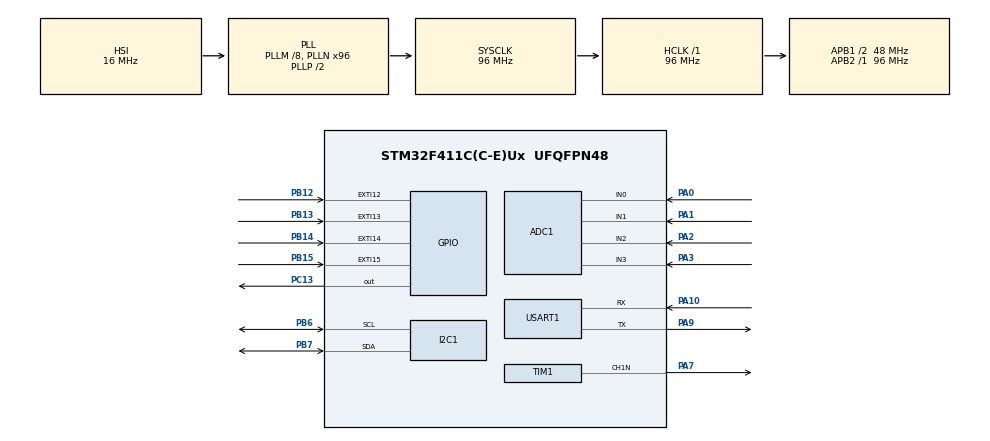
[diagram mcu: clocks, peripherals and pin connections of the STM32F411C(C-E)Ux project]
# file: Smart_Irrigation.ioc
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ADC1.Channel-3\#ChannelRegularConversion=ADC_CHANNEL_0
ADC1.Channel-4\#ChannelRegularConversion=ADC_CHANNEL_1
ADC1.Channel-5\#ChannelRegularConversion=ADC_CHANNEL_2
ADC1.Channel-6\#ChannelRegularConversion=ADC_CHANNEL_TEMPSENSOR
ADC1.Channel-7\#ChannelRegularConversion=ADC_CHANNEL_3
ADC1.ContinuousConvMode=ENABLE
ADC1.NbrOfConversion=5
ADC1.NbrOfConversionFlag=1
ADC1.Rank-3\#ChannelRegularConversion=1
ADC1.Rank-4\#ChannelRegularConversion=2
ADC1.Rank-5\#ChannelRegularConversion=3
ADC1.Rank-6\#ChannelRegularConversion=4
ADC1.Rank-7\#ChannelRegularConversion=5
ADC1.SamplingTime-3\#ChannelRegularConversion=ADC_SAMPLETIME_84CYCLES
ADC1.SamplingTime-4\#ChannelRegularConversion=ADC_SAMPLETIME_84CYCLES
ADC1.SamplingTime-5\#ChannelRegularConversion=ADC_SAMPLETIME_84CYCLES
ADC1.SamplingTime-6\#ChannelRegularConversion=ADC_SAMPLETIME_84CYCLES
ADC1.SamplingTime-7\#ChannelRegularConversion=ADC_SAMPLETIME_84CYCLES
ADC1.ScanConvMode=ENABLE
ADC1.master=1
I2C1.I2C_Mode=I2C_Fast
Mcu.Family=STM32F4
Mcu.Name=STM32F411C(C-E)Ux
Mcu.Package=UFQFPN48
NVIC.EXTI15_10_IRQn=true\:0\:0\:false\:false\:true\:true\:true\:true
NVIC.PriorityGroup=NVIC_PRIORITYGROUP_4
PA0-WKUP.Signal=ADCx_IN0
PA1.Signal=ADCx_IN1
PA10.Mode=Asynchronous
PA10.Signal=USART1_RX
PA13.Mode=Serial_Wire
PA13.Signal=SYS_JTMS-SWDIO
PA14.Mode=Serial_Wire
PA14.Signal=SYS_JTCK-SWCLK
PA2.Signal=ADCx_IN2
PA3.Signal=ADCx_IN3
PA7.Mode=PWM Generation1 CH1N
PA7.Signal=TIM1_CH1N
PA9.Mode=Asynchronous
PA9.Signal=USART1_TX
PB12.GPIO_ModeDefaultEXTI=GPIO_MODE_IT_FALLING
PB12.GPIO_PuPd=GPIO_PULLUP
PB12.Signal=GPXTI12
PB13.GPIO_ModeDefaultEXTI=GPIO_MODE_IT_FALLING
PB13.GPIO_PuPd=GPIO_PULLUP
PB13.Signal=GPXTI13
PB14.GPIO_ModeDefaultEXTI=GPIO_MODE_IT_FALLING
PB14.GPIO_PuPd=GPIO_PULLUP
PB14.Signal=GPXTI14
PB15.GPIO_ModeDefaultEXTI=GPIO_MODE_IT_FALLING
PB15.GPIO_PuPd=GPIO_PULLUP
PB15.Signal=GPXTI15
PB6.Mode=I2C
PB6.Signal=I2C1_SCL
PB7.Mode=I2C
PB7.Signal=I2C1_SDA
PC13-ANTI_TAMP.Signal=GPIO_Output
PH0\ -\ OSC_IN.Mode=HSE-External-Oscillator
PH0\ -\ OSC_IN.Signal=RCC_OSC_IN
PH1\ -\ OSC_OUT.Mode=HSE-External-Oscillator
PH1\ -\ OSC_OUT.Signal=RCC_OSC_OUT
ProjectManager.HeapSize=0x200
ProjectManager.StackSize=0x400
ProjectManager.TargetToolchain=STM32CubeIDE
RCC.48MHZClocksFreq_Value=48000000
RCC.AHBFreq_Value=96000000
RCC.APB1CLKDivider=RCC_HCLK_DIV2
RCC.APB1Freq_Value=48000000
RCC.APB1TimFreq_Value=96000000
RCC.APB2Freq_Value=96000000
RCC.APB2TimFreq_Value=96000000
RCC.CortexFreq_Value=96000000
RCC.HCLKFreq_Value=96000000
RCC.HSE_VALUE=25000000
RCC.HSI_VALUE=16000000
RCC.LSE_VALUE=32768
RCC.PLLM=8
RCC.PLLN=96
RCC.SYSCLKFreq_VALUE=96000000
RCC.SYSCLKSource=RCC_SYSCLKSOURCE_PLLCLK
RCC.VCOOutputFreq_Value=192000000
SH.ADCx_IN0.0=ADC1_IN0,IN0
SH.ADCx_IN1.0=ADC1_IN1,IN1
SH.ADCx_IN2.0=ADC1_IN2,IN2
SH.ADCx_IN3.0=ADC1_IN3,IN3
TIM1.Channel-PWM\ Generation1\ CH1N=TIM_CHANNEL_1
TIM1.Prescaler=95
USART1.VirtualMode=VM_ASYNC
VP_ADC1_TempSens_Input.Mode=IN-TempSens
VP_TIM1_VS_ClockSourceINT.Mode=Internal
board=custom

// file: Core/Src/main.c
/* USER CODE BEGIN Header */
/**
 ******************************************************************************
 * @file           : main.c
 * @brief          : Main program body
 ******************************************************************************
 * @attention
 *
 * Copyright (c) 2024 STMicroelectronics.
 * All rights reserved.
 *
 * This software is licensed under terms that can be found in the LICENSE file
 * in the root directory of this software component.
 * If no LICENSE file comes with this software, it is provided AS-IS.
 *
 ******************************************************************************
 */
/* USER CODE END Header */
#include "main.h"

/* USER CODE BEGIN Includes */
#include "ssd1306_fonts.h"
#include "ssd1306.h"

#include "stdio.h"
#include "stdbool.h"

#include "string.h"

/* USER CODE END Includes */

/* USER CODE BEGIN PD */
#define V25 		0.76
#define VSENSE		3.3 / 4096
#define AVG_SLOPE 	2.5

#define OUTPUT 0		/*!< OUTPUT: Output push pull at low frequency (2 MHz) */
#define INPUT 1			/*!< INPUT: Input with no pull resistor activation */
#define INPUT_PULLUP 2	/*!< INPUT_PULLUP: Input with pull up resistor activation */

#define DHT11_PORT GPIOA
#define DHT11_PIN GPIO_PIN_4

/* USER CODE END PD */

ADC_HandleTypeDef hadc1;

I2C_HandleTypeDef hi2c1;

TIM_HandleTypeDef htim1;

UART_HandleTypeDef huart1;

/* USER CODE BEGIN PV */
int8_t xIncrement = 0;
int8_t yIncrement = 0;

int8_t xIndex = 0;
int8_t yIndex = 0;

uint8_t manOn = 1;
uint8_t manOnIncrement = 0;

/* USER CODE END PV */

void SystemClock_Config(void);
static void MX_GPIO_Init(void);
static void MX_ADC1_Init(void);
static void MX_TIM1_Init(void);
static void MX_I2C1_Init(void);
static void MX_USART1_UART_Init(void);

/* USER CODE BEGIN 0 */
int _write(int file, char *ptr, int len) {
	int DataIdx;
	for (DataIdx = 0; DataIdx < len; DataIdx++) {
		ITM_SendChar(*ptr++);
	}
	return len;
}

void ADC_Select_CH0() {
	ADC_ChannelConfTypeDef sConfig = { 0 };
	/** Configure for the selected ADC regular channel its corresponding rank in the sequencer and its sample time.
	 */
	sConfig.Channel = ADC_CHANNEL_0;
	sConfig.Rank = 1;
	sConfig.SamplingTime = ADC_SAMPLETIME_84CYCLES;
	if (HAL_ADC_ConfigChannel(&hadc1, &sConfig) != HAL_OK) {
		Error_Handler();
	}
}

void ADC_Select_CH1() {
	ADC_ChannelConfTypeDef sConfig = { 0 };
	/** Configure for the selected ADC regular channel its corresponding rank in the sequencer and its sample time.
	 */
	sConfig.Channel = ADC_CHANNEL_1;
	sConfig.Rank = 1;
	sConfig.SamplingTime = ADC_SAMPLETIME_84CYCLES;
	if (HAL_ADC_ConfigChannel(&hadc1, &sConfig) != HAL_OK) {
		Error_Handler();
	}
}

void ADC_Select_CH2() {
	ADC_ChannelConfTypeDef sConfig = { 0 };
	/** Configure for the selected ADC regular channel its corresponding rank in the sequencer and its sample time.
	 */
	sConfig.Channel = ADC_CHANNEL_2;
	sConfig.Rank = 1;
	sConfig.SamplingTime = ADC_SAMPLETIME_84CYCLES;
	if (HAL_ADC_ConfigChannel(&hadc1, &sConfig) != HAL_OK) {
		Error_Handler();
	}
}

void ADC_Select_CH3() {
	ADC_ChannelConfTypeDef sConfig = { 0 };
	/** Configure for the selected ADC regular channel its corresponding rank in the sequencer and its sample time.
	 */
	sConfig.Channel = ADC_CHANNEL_3;
	sConfig.Rank = 1;
	sConfig.SamplingTime = ADC_SAMPLETIME_84CYCLES;
	if (HAL_ADC_ConfigChannel(&hadc1, &sConfig) != HAL_OK) {
		Error_Handler();
	}
}

void ADC_Select_CHTemp() {
	ADC_ChannelConfTypeDef sConfig = { 0 };
	/** Configure for the selected ADC regular channel its corresponding rank in the sequencer and its sample time.
	 */
	sConfig.Channel = ADC_CHANNEL_TEMPSENSOR;
	sConfig.Rank = 1;
	sConfig.SamplingTime = ADC_SAMPLETIME_84CYCLES;
	if (HAL_ADC_ConfigChannel(&hadc1, &sConfig) != HAL_OK) {
		Error_Handler();
	}
}

void delayMicroseconds(uint16_t Delay) {
	__HAL_TIM_SET_COUNTER(&htim1, 0);
	while (__HAL_TIM_GET_COUNTER(&htim1) < Delay)
		;
}

void pinMode(GPIO_TypeDef *GPIOx, uint16_t GPIO_Pin, uint8_t Mode) {
	GPIO_InitTypeDef GPIO_InitStruct = { 0 };
	GPIO_InitStruct.Pin = GPIO_Pin;

	if (Mode == OUTPUT) {
		GPIO_InitStruct.Mode = GPIO_MODE_OUTPUT_PP;
		GPIO_InitStruct.Speed = GPIO_SPEED_FREQ_LOW;
	} else if (Mode == INPUT) {
		GPIO_InitStruct.Mode = GPIO_MODE_INPUT;
		GPIO_InitStruct.Pull = GPIO_NOPULL;
	} else if (Mode == INPUT_PULLUP) {
		GPIO_InitStruct.Mode = GPIO_MODE_INPUT;
		GPIO_InitStruct.Pull = GPIO_PULLUP;
	}

	HAL_GPIO_Init(GPIOx, &GPIO_InitStruct);
}

void DHT11_Init() {
	pinMode(DHT11_PORT, DHT11_PIN, OUTPUT);
	HAL_GPIO_WritePin(DHT11_PORT, DHT11_PIN, GPIO_PIN_RESET);
	HAL_Delay(18);
	HAL_GPIO_WritePin(DHT11_PORT, DHT11_PIN, GPIO_PIN_SET);
	delayMicroseconds(20);
	pinMode(DHT11_PORT, DHT11_PIN, INPUT_PULLUP);
}

uint8_t DHT11_Handshake() {
	uint8_t Response = 0;
	delayMicroseconds(40);
	if ((HAL_GPIO_ReadPin(DHT11_PORT, DHT11_PIN)) == GPIO_PIN_RESET) {
		delayMicroseconds(80);
		if ((HAL_GPIO_ReadPin(DHT11_PORT, DHT11_PIN)) == GPIO_PIN_SET)
			Response = 1;
		else
			Response = 255;
	}
	delayMicroseconds(40);
//	while ((HAL_GPIO_ReadPin(DHT11_PORT, DHT11_PIN)) == GPIO_PIN_SET)
//		;  // wait for the pin to go low
	return Response;
}

uint8_t DHT11_Read() {
	uint8_t i = 0;
	for (uint8_t j = 0; j < 8; j++) {
		while ((HAL_GPIO_ReadPin(DHT11_PORT, DHT11_PIN)) == GPIO_PIN_RESET)
			;   // wait for the pin to go high`
		delayMicroseconds(40);   // wait for 40 us
		if ((HAL_GPIO_ReadPin(DHT11_PORT, DHT11_PIN)) == GPIO_PIN_RESET) // if the pin is low
				{
			i &= ~(1 << (7 - j));   // write 0
		} else
			i |= (1 << (7 - j));  // if the pin is high, write 1
		while ((HAL_GPIO_ReadPin(DHT11_PORT, DHT11_PIN)) == GPIO_PIN_SET)
			;  // wait for the pin to go low
	}
	return i;
}

void reverse(char str[], int length) {
	int start = 0;
	int end = length - 1;
	while (start < end) {
		char temp = str[start];
		str[start] = str[end];
		str[end] = temp;
		end--;
		start++;
	}
}
// Implementation of citoa()
char* citoa(int num, char *str, int base) {
	int i = 0;
	bool isNegative = false;

	/* Handle 0 explicitly, otherwise empty string is
	 * printed for 0 */
	if (num == 0) {
		str[i++] = '0';
		str[i] = '\0';
		return str;
	}

	// In standard itoa(), negative numbers are handled
	// only with base 10. Otherwise numbers are
	// considered unsigned.
	if (num < 0 && base == 10) {
		isNegative = true;
		num = -num;
	}

	// Process individual digits
	while (num != 0) {
		int rem = num % base;
		str[i++] = (rem > 9) ? (rem - 10) + 'a' : rem + '0';
		num = num / base;
	}

	// If number is negative, append '-'
	if (isNegative)
		str[i++] = '-';

	str[i] = '\0'; // Append string terminator

	// Reverse the string
	reverse(str, i);

	return str;
}
/* USER CODE END 0 */

int main(void) {

	/* MCU Configuration--------------------------------------------------------*/

	/* Reset of all peripherals, Initializes the Flash interface and the Systick. */
	HAL_Init();

	/* Configure the system clock */
	SystemClock_Config();

	/* Initialize all configured peripherals */
	MX_GPIO_Init();
	MX_ADC1_Init();
	MX_TIM1_Init();
	MX_I2C1_Init();
	MX_USART1_UART_Init();
	/* USER CODE BEGIN 2 */
	HAL_TIM_Base_Start(&htim1);
	HAL_TIMEx_PWMN_Start(&htim1, TIM_CHANNEL_1);

	char row0[10][9][32] = { { "Real-Time Data", "Forecast data", "Debug",
			"Manual Override", "\0" }, { "Soil Moisture", "Temperature",
			"Humidity", "Rain", "Light", "\0" }, { "Temperature", "Humidity",
			"Precipitation", "Cloud Cover", "Soil Moisture", "\0" }, {
			"Core Temp", "Core Voltage", "Sync Data", "\0" }, { "Temperature",
			"Temperature", "Temperature", "Temperature", "Temperature",
			"Temperature", "Temperature", "Temperature", "\0" }, { "Humidity",
			"Humidity", "Humidity", "Humidity", "Humidity", "Humidity",
			"Humidity", "Humidity", "\0" }, { "Precipitation", "Precipitation",
			"Precipitation", "Precipitation", "Precipitation", "Precipitation",
			"Precipitation", "Precipitation", "\0" }, { "Cloud Cover",
			"Cloud Cover", "Cloud Cover", "Cloud Cover", "Cloud Cover",
			"Cloud Cover", "Cloud Cover", "Cloud Cover", "\0" }, {
			"Soil Moisture", "Soil Moisture", "Soil Moisture", "Soil Moisture",
			"Soil Moisture", "Soil Moisture", "Soil Moisture", "Soil Moisture",
			"\0" }, { "\0" } };

	char row1[10][9][16] = { { "", "", "", "%d" }, { "%d", "%dC", "%d%%", "%d%",
			"%d", "\0" }, { "\0" }, { "%0.1fC", "%0.1fV", "\0" }, { "%0.1fC",
			"%0.1fC", "%0.1fC", "%0.1fC", "%0.1fC", "%0.1fC", "%0.1fC",
			"%0.1fC", "\0" }, { "%d%%", "%d%%", "%d%%", "%d%%", "%d%%", "%d%%",
			"%d%%", "%d%%", "\0" }, { "%dmm(%d%%)", "%dmm(%d%%)", "%dmm(%d%%)",
			"%dmm(%d%%)", "%dmm(%d%%)", "%dmm(%d%%)", "%dmm(%d%%)",
			"%dmm(%d%%)", "\0" }, { "%d%%", "%d%%", "%d%%", "%d%%", "%d%%",
			"%d%%", "%d%%", "%d%%", "\0" }, { "%0.3f", "%0.3f", "%0.3f", "%0.3f", "%0.3f",
			"%0.3f", "%0.3f", "%0.3f", "\0" }, { "\0" } };

	uint16_t varInt[10][9];
	float varFloat[10][9];

	for (uint8_t i = 0; i < 10; i++) {
		for (uint8_t j = 0; j < 9; j++) {
			varFloat[i][j] = 0;
			varInt[i][j] = 0;
		}
	}

	ssd1306_Init();
	ssd1306_Fill(Black);
	ssd1306_SetCursor(0, 0);
	ssd1306_WriteString("Syncing", Font_11x18, White);
	ssd1306_SetCursor(0, 20);
	ssd1306_WriteString("Data...", Font_11x18, White);
	ssd1306_UpdateScreen();

	char ATcommand[256];
	char ATmessage[256];

	uint8_t ATisOK = 0;
	uint8_t rxBuffer[8192] = { 0 };

	sprintf(ATcommand, "AT+RST\r\n");
	memset(rxBuffer, 0, sizeof(rxBuffer));
	HAL_UART_Transmit(&huart1, (uint8_t*) ATcommand, strlen(ATcommand), 1000);
	HAL_UART_Receive(&huart1, rxBuffer, sizeof(rxBuffer), 1000);
	printf("ESP01 reset\n\r");
	HAL_Delay(500);

	printf("Enabling STA...\r");
	ATisOK = 0;
	while (!ATisOK) {
		sprintf(ATcommand, "AT+CWMODE_CUR=1\r\n");
		memset(rxBuffer, 0, sizeof(rxBuffer));
		HAL_UART_Transmit(&huart1, (uint8_t*) ATcommand, strlen(ATcommand),
				1000);
		HAL_UART_Receive(&huart1, rxBuffer, sizeof(rxBuffer), 1000);
		if (strstr((char*) rxBuffer, "OK")) {
			ATisOK = 1;
			printf("Enabled\n\r");
		}
		HAL_Delay(500);
	}

	printf("Connecting to WiFi...\r");
	ATisOK = 0;
	while (!ATisOK) {
		sprintf(ATcommand, "AT+CWJAP_CUR=\"moto x4 6475\",\"IRONMANROX\"\r\n");
		memset(rxBuffer, 0, sizeof(rxBuffer));
		HAL_UART_Transmit(&huart1, (uint8_t*) ATcommand, strlen(ATcommand),
				1000);
		HAL_UART_Receive(&huart1, rxBuffer, sizeof(rxBuffer), 20000);
		if (strstr((char*) rxBuffer, "OK")) {
			ATisOK = 1;
			printf("Connected\n\r");
		}
		HAL_Delay(500);
	}

	printf("Enabling single connection mode...\r");
	ATisOK = 0;
	while (!ATisOK) {
		sprintf(ATcommand, "AT+CIPMUX=0\r\n");
		memset(rxBuffer, 0, sizeof(rxBuffer));
		HAL_UART_Transmit(&huart1, (uint8_t*) ATcommand, strlen(ATcommand),
				1000);
		HAL_UART_Receive(&huart1, rxBuffer, sizeof(rxBuffer), 1000);
		if (strstr((char*) rxBuffer, "OK")) {
			ATisOK = 1;
			printf("Enabled\n\r");
		}
		HAL_Delay(500);
	}

	printf("Connecting to Open-Meteo...\r");
	sprintf(ATcommand, "AT+CIPSTART=\"TCP\",\"api.open-meteo.com\",80\r\n");
	memset(rxBuffer, 0, sizeof(rxBuffer));
	HAL_UART_Transmit(&huart1, (uint8_t*) ATcommand, strlen(ATcommand), 1000);
	HAL_UART_Receive(&huart1, rxBuffer, sizeof(rxBuffer), 1000);
	printf("Connected\n\r");
	HAL_Delay(500);

	printf("Fetching data...\r");
	sprintf(ATmessage,
			"GET /v1/forecast?latitude=19.9973&longitude=73.791&hourly=temperature_2m&forecast_days=2 HTTP/1.1\r\n"
					"Host: api.open-meteo.com\r\n"
					"Connection: close\r\n\r\n");
	sprintf(ATcommand, "AT+CIPSEND=%d\r\n", strlen(ATmessage));
	memset(rxBuffer, 0, sizeof(rxBuffer));
	HAL_UART_Transmit(&huart1, (uint8_t*) ATcommand, strlen(ATcommand), 1000);
	HAL_UART_Receive(&huart1, rxBuffer, sizeof(rxBuffer), 1000);
	if (strstr((char*) rxBuffer, ">")) {
		memset(rxBuffer, 0, sizeof(rxBuffer));
		HAL_UART_Transmit(&huart1, (uint8_t*) ATmessage, strlen(ATmessage),
				1000);
		HAL_UART_Receive(&huart1, rxBuffer, sizeof(rxBuffer), 1000);
	}

	char parsedTime[6] = "";
	for (uint8_t i = 0; i < 5; i++) {
		parsedTime[i] = rxBuffer[i + 81];
	}
	parsedTime[5] = '\0';

	uint8_t parsedHrs = (parsedTime[0] - '0') * 10 + (parsedTime[1] - '0');
	uint8_t parsedMins = (parsedTime[3] - '0') * 10 + (parsedTime[4] - '0');
	printf("Parsed time: %d:%d\n", parsedHrs, parsedMins);

	char parsedString[56] = "";
	uint8_t commaCount = 0;
	uint8_t i = 0;
	uint16_t dispHrs = parsedMins < 30 ? (parsedHrs + 6) : (parsedHrs + 7);
	dispHrs = dispHrs > 24 ? dispHrs - 24 : dispHrs;
	uint8_t startIndex =
			parsedMins < 30 ? (parsedHrs + 1) * 5 : (parsedHrs + 2) * 5;
	float parsedTemps[8];
	while (commaCount < 8) {
		parsedString[i] = rxBuffer[i + startIndex + 1376];
		if (rxBuffer[i + 1376] == ',') {
			parsedTemps[commaCount] = parsedString[i - 1] * 0.1
					+ parsedString[i - 3] + parsedString[i - 4] * 10 - 532.8;
			commaCount++;
		}
		i++;
	}
	parsedString[i - 1] = '\0'; // Null-terminate parsedString
//	printf("%s\n", parsedString);

	for (uint8_t i = 0; i < 8; i++) {
		varFloat[4][i] = parsedTemps[i];
	}

	for (i = 0; i < 8; i++) {
		printf(
				dispHrs + i == 0 ?
						"000%d: " : (dispHrs + i < 10 ? "0%d00: " : "%d00: "),
				dispHrs + i);
		printf("%0.1f\n", varFloat[4][i]);
	}

	//Hums
	printf("Connecting to Open-Meteo...\r");
	sprintf(ATcommand, "AT+CIPSTART=\"TCP\",\"api.open-meteo.com\",80\r\n");
	memset(rxBuffer, 0, sizeof(rxBuffer));
	HAL_UART_Transmit(&huart1, (uint8_t*) ATcommand, strlen(ATcommand), 1000);
	HAL_UART_Receive(&huart1, rxBuffer, sizeof(rxBuffer), 1000);
	printf("Connected\n\r");
	HAL_Delay(500);

	printf("Fetching data...\r");
	sprintf(ATmessage,
			"GET /v1/forecast?latitude=19.9973&longitude=73.791&hourly=relative_humidity_2m&forecast_days=2 HTTP/1.1\r\n"
					"Host: api.open-meteo.com\r\n"
					"Connection: close\r\n\r\n");
	sprintf(ATcommand, "AT+CIPSEND=%d\r\n", strlen(ATmessage));
	memset(rxBuffer, 0, sizeof(rxBuffer));
	HAL_UART_Transmit(&huart1, (uint8_t*) ATcommand, strlen(ATcommand), 1000);
	HAL_UART_Receive(&huart1, rxBuffer, sizeof(rxBuffer), 1000);
	if (strstr((char*) rxBuffer, ">")) {
		memset(rxBuffer, 0, sizeof(rxBuffer));
		HAL_UART_Transmit(&huart1, (uint8_t*) ATmessage, strlen(ATmessage),
				1000);
		HAL_UART_Receive(&huart1, rxBuffer, sizeof(rxBuffer), 1000);
	}

	memset(parsedString, 0, sizeof(parsedString));
	commaCount = 0;
	i = 0;
	startIndex = parsedMins < 30 ? (parsedHrs + 1) * 3 : (parsedHrs + 2) * 3;
	uint16_t parsedHums[8];
	while (commaCount < 8) {
		parsedString[i] = rxBuffer[i + startIndex + 1385];
		if (rxBuffer[i + 1385] == ',') {
			parsedHums[commaCount] = parsedString[i - 1]
					+ parsedString[i - 2] * 10 - 528;
			commaCount++;
		}
		i++;
	}
	parsedString[i - 1] = '\0'; // Null-terminate parsedString
//	printf("%s\n", parsedString);

	for (uint8_t i = 0; i < 8; i++) {
		varInt[5][i] = parsedHums[i];
	}

	//Clouds
	sprintf(ATcommand, "AT+CIPSTART=\"TCP\",\"api.open-meteo.com\",80\r\n");
	memset(rxBuffer, 0, sizeof(rxBuffer));
	HAL_UART_Transmit(&huart1, (uint8_t*) ATcommand, strlen(ATcommand), 1000);
	HAL_UART_Receive(&huart1, rxBuffer, sizeof(rxBuffer), 1000);
//	printf("Connected\n\r");
	HAL_Delay(500);

	printf("Fetching data...\r");
	sprintf(ATmessage,
			"GET /v1/forecast?latitude=19.9973&longitude=73.791&hourly=cloud_cover,soil_moisture_0_to_1cm&forecast_days=2 HTTP/1.1\r\n"
					"Host: api.open-meteo.com\r\n"
					"Connection: close\r\n\r\n");
	sprintf(ATcommand, "AT+CIPSEND=%d\r\n", strlen(ATmessage));
	memset(rxBuffer, 0, sizeof(rxBuffer));
	HAL_UART_Transmit(&huart1, (uint8_t*) ATcommand, strlen(ATcommand), 1000);
	HAL_UART_Receive(&huart1, rxBuffer, sizeof(rxBuffer), 1000);
	if (strstr((char*) rxBuffer, ">")) {
		memset(rxBuffer, 0, sizeof(rxBuffer));
		HAL_UART_Transmit(&huart1, (uint8_t*) ATmessage, strlen(ATmessage), 1000);
		HAL_UART_Receive(&huart1, rxBuffer, sizeof(rxBuffer), 1000);
//		printf("%s\n\r", rxBuffer);
	}

	memset(parsedString, 0, sizeof(parsedString));
	commaCount = 0;
	i = 0;
	startIndex = 0;
	uint8_t parsedClouds[8];
	while (commaCount < parsedHrs + 1) {
		if (rxBuffer[startIndex + 1402] == ',') {
			commaCount++;
		}
		startIndex++;
	}

	commaCount = 0;
	while (commaCount < 8) {
		parsedString[i] = rxBuffer[i + startIndex + 1402];
		if (rxBuffer[i + startIndex + 1402] == ',') {
			if (parsedString[i - 2] == ',') {
				parsedClouds[commaCount] = parsedString[i - 1] - 48;
			} else {
				parsedClouds[commaCount] = parsedString[i - 1]
						+ parsedString[i - 2] * 10 - 528;
			}
			commaCount++;
		}
		i++;
	}
	parsedString[i - 1] = '\0'; // Null-terminate parsedString
	printf("%s\n", parsedString);

	for (uint8_t i = 0; i < 8; i++) {
		varInt[7][i] = parsedClouds[i];
	}

	for (i = 0; i < 8; i++) {
		printf(
				dispHrs + i == 0 ?
						"000%d: " : (dispHrs + i < 10 ? "0%d00: " : "%d00: "),
				dispHrs + i);
		printf("%d\n", varInt[5][i]);
	}

	memset(parsedString, 0, sizeof(parsedString));
	commaCount = 0;
	i = 0;
	startIndex = 0;
	float parsedSoils[8];
	while (commaCount < parsedHrs + 1) {
		if (rxBuffer[startIndex + 1546] == ',') {
			commaCount++;
		}
		startIndex++;
	}

	commaCount = 0;
	while (commaCount < 8) {
		parsedString[i] = rxBuffer[i + startIndex + 1546];
		if (rxBuffer[i + startIndex + 1546] == ',') {
			parsedSoils[commaCount] = parsedString[i - 1] * 0.001 +
						+ parsedString[i - 2] * 0.01 + parsedString[i - 3] * 0.1 - 5.328;
			commaCount++;
		}
		i++;
	}
	parsedString[i - 1] = '\0'; // Null-terminate parsedString
	printf("%s\n", parsedString);

	for (uint8_t i = 0; i < 8; i++) {
		varFloat[8][i] = parsedSoils[i];
	}

	printf("armdude done. Thank you.\n");
	HAL_Delay(500);
	/* USER CODE END 2 */

	/* Infinite loop */
	/* USER CODE BEGIN WHILE */
	while (1) {
		char message[32];

		if (xIncrement != 0) {
			xIndex += xIncrement;
			xIncrement = 0;

			if (xIndex < 0) {
				xIndex = 0;
			} else if (row0[yIndex][xIndex][0] == '\0') {
				xIndex--;
			}

			HAL_Delay(50);
		}

		if (yIncrement != 0) {
			yIndex += yIncrement;
			yIncrement = 0;
			xIndex = 0;

			if (yIndex < 0) {
				yIndex = 0;
			}

			HAL_Delay(50);
		}

		if (manOnIncrement != 0) {
			manOn += manOnIncrement;
			manOnIncrement = 0;

			if (manOn < 0) {
				manOn = 0;
			} else if (manOn > 2) {
				manOn = 2;
			}

			HAL_Delay(50);
		}

		ADC_Select_CHTemp(); //Core Temp
		HAL_ADC_Start(&hadc1);
		HAL_ADC_PollForConversion(&hadc1, 1000);
		varFloat[3][0] = ((V25 - HAL_ADC_GetValue(&hadc1) * VSENSE) / AVG_SLOPE)
				+ 25;
		HAL_ADC_Stop(&hadc1);

		ADC_Select_CH0(); //Core Voltage
		HAL_ADC_Start(&hadc1);
		HAL_ADC_PollForConversion(&hadc1, 1000);
		varFloat[3][1] = HAL_ADC_GetValue(&hadc1) * VSENSE * 2;
		HAL_ADC_Stop(&hadc1);

		ADC_Select_CH1(); //SMS
		HAL_ADC_Start(&hadc1);
		HAL_ADC_PollForConversion(&hadc1, 1000);
		varInt[1][0] = HAL_ADC_GetValue(&hadc1);
		HAL_ADC_Stop(&hadc1);

		ADC_Select_CH2(); //Rain
		HAL_ADC_Start(&hadc1);
		HAL_ADC_PollForConversion(&hadc1, 1000);
		varInt[1][3] = HAL_ADC_GetValue(&hadc1);
		HAL_ADC_Stop(&hadc1);

		ADC_Select_CH3(); //Light
		HAL_ADC_Start(&hadc1);
		HAL_ADC_PollForConversion(&hadc1, 1000);
		varInt[1][4] = HAL_ADC_GetValue(&hadc1);
		HAL_ADC_Stop(&hadc1);

		DHT11_Init();
		DHT11_Handshake();
		varInt[1][2] = DHT11_Read();
		DHT11_Read();
		varInt[1][1] = DHT11_Read();
		DHT11_Read();
		DHT11_Read();

		ssd1306_Fill(Black);
		ssd1306_SetCursor(0, 0);
		sprintf(message, "%s", row0[yIndex][xIndex]);
		ssd1306_WriteString(message, Font_7x10, White);

		ssd1306_SetCursor(0, 20);
		if (yIndex == 0 && xIndex == 3) {
			if (manOn == 0) {
				ssd1306_WriteString("OFF", Font_11x18, White);
			} else if (manOn == 1){
				ssd1306_WriteString("AUTO", Font_11x18, White);
			} else if (manOn == 2){
				ssd1306_WriteString("ON", Font_11x18, White);
			}
		} else {
			if (varFloat[yIndex][xIndex] != 0) {
				sprintf(message, row1[yIndex][xIndex], varFloat[yIndex][xIndex],
						varFloat[yIndex][xIndex]);
			} else {
				sprintf(message, row1[yIndex][xIndex], varInt[yIndex][xIndex],
						varInt[yIndex][xIndex]);
			}
			ssd1306_WriteString(message, Font_11x18, White);
		}

		if (yIndex > 3) {
			ssd1306_SetCursor(0, 50);
			sprintf(message,
					dispHrs + xIndex == 0 ?
							"000%d" :
							(dispHrs + xIndex < 10 ? "0%d00" : "%d00"),
					dispHrs + xIndex);
			ssd1306_WriteString(message, Font_7x10, White);
		}

		ssd1306_UpdateScreen();

		if (varInt[1][0] >= 4000 && varInt[1][3] >= 3000 && varInt[1][1] >= 21) {
//			if (varInt[1][0] >= 1023
//					|| (varFloat[1][1] >= 31.1 && varFloat[1][2] <= 32.2)
//					|| (varFloat[1][2] >= 55 && varFloat[1][2] <= 60)) {
			varInt[0][3] = 65535;
//			} else {
//				varInt[0][3] = 0;
//			}
		} else {
			varInt[0][3] = 0;
		}

		if (manOn == 0) {
			__HAL_TIM_SET_COMPARE(&htim1, TIM_CHANNEL_1, 0);
		} else if (manOn == 1) {
			__HAL_TIM_SET_COMPARE(&htim1, TIM_CHANNEL_1, varInt[0][3]);
		} else if (manOn == 2) {
			__HAL_TIM_SET_COMPARE(&htim1, TIM_CHANNEL_1, 65535);
		}

//		printf("%d", varInt[0][3]);
		HAL_Delay(1000);
		/* USER CODE END WHILE */

	}
}

void SystemClock_Config(void) {
	RCC_OscInitTypeDef RCC_OscInitStruct = { 0 };
	RCC_ClkInitTypeDef RCC_ClkInitStruct = { 0 };

	/** Configure the main internal regulator output voltage
	 */
	__HAL_RCC_PWR_CLK_ENABLE();
	__HAL_PWR_VOLTAGESCALING_CONFIG(PWR_REGULATOR_VOLTAGE_SCALE1);

	/** Initializes the RCC Oscillators according to the specified parameters
	 * in the RCC_OscInitTypeDef structure.
	 */
	RCC_OscInitStruct.OscillatorType = RCC_OSCILLATORTYPE_HSI;
	RCC_OscInitStruct.HSIState = RCC_HSI_ON;
	RCC_OscInitStruct.HSICalibrationValue = RCC_HSICALIBRATION_DEFAULT;
	RCC_OscInitStruct.PLL.PLLState = RCC_PLL_ON;
	RCC_OscInitStruct.PLL.PLLSource = RCC_PLLSOURCE_HSI;
	RCC_OscInitStruct.PLL.PLLM = 8;
	RCC_OscInitStruct.PLL.PLLN = 96;
	RCC_OscInitStruct.PLL.PLLP = RCC_PLLP_DIV2;
	RCC_OscInitStruct.PLL.PLLQ = 4;
	if (HAL_RCC_OscConfig(&RCC_OscInitStruct) != HAL_OK) {
		Error_Handler();
	}

	/** Initializes the CPU, AHB and APB buses clocks
	 */
	RCC_ClkInitStruct.ClockType = RCC_CLOCKTYPE_HCLK | RCC_CLOCKTYPE_SYSCLK
			| RCC_CLOCKTYPE_PCLK1 | RCC_CLOCKTYPE_PCLK2;
	RCC_ClkInitStruct.SYSCLKSource = RCC_SYSCLKSOURCE_PLLCLK;
	RCC_ClkInitStruct.AHBCLKDivider = RCC_SYSCLK_DIV1;
	RCC_ClkInitStruct.APB1CLKDivider = RCC_HCLK_DIV2;
	RCC_ClkInitStruct.APB2CLKDivider = RCC_HCLK_DIV1;

	if (HAL_RCC_ClockConfig(&RCC_ClkInitStruct, FLASH_LATENCY_3) != HAL_OK) {
		Error_Handler();
	}
}

static void MX_ADC1_Init(void) {

	ADC_ChannelConfTypeDef sConfig = { 0 };

	/** Configure the global features of the ADC (Clock, Resolution, Data Alignment and number of conversion)
	 */
	hadc1.Instance = ADC1;
	hadc1.Init.ClockPrescaler = ADC_CLOCK_SYNC_PCLK_DIV4;
	hadc1.Init.Resolution = ADC_RESOLUTION_12B;
	hadc1.Init.ScanConvMode = ENABLE;
	hadc1.Init.ContinuousConvMode = ENABLE;
	hadc1.Init.DiscontinuousConvMode = DISABLE;
	hadc1.Init.ExternalTrigConvEdge = ADC_EXTERNALTRIGCONVEDGE_NONE;
	hadc1.Init.ExternalTrigConv = ADC_SOFTWARE_START;
	hadc1.Init.DataAlign = ADC_DATAALIGN_RIGHT;
	hadc1.Init.NbrOfConversion = 5;
	hadc1.Init.DMAContinuousRequests = DISABLE;
	hadc1.Init.EOCSelection = ADC_EOC_SINGLE_CONV;
	if (HAL_ADC_Init(&hadc1) != HAL_OK) {
		Error_Handler();
	}

	/** Configure for the selected ADC regular channel its corresponding rank in the sequencer and its sample time.
	 */
	sConfig.Channel = ADC_CHANNEL_0;
	sConfig.Rank = 1;
	sConfig.SamplingTime = ADC_SAMPLETIME_84CYCLES;
	if (HAL_ADC_ConfigChannel(&hadc1, &sConfig) != HAL_OK) {
		Error_Handler();
	}

	/** Configure for the selected ADC regular channel its corresponding rank in the sequencer and its sample time.
	 */
	sConfig.Channel = ADC_CHANNEL_1;
	sConfig.Rank = 2;
	if (HAL_ADC_ConfigChannel(&hadc1, &sConfig) != HAL_OK) {
		Error_Handler();
	}

	/** Configure for the selected ADC regular channel its corresponding rank in the sequencer and its sample time.
	 */
	sConfig.Channel = ADC_CHANNEL_2;
	sConfig.Rank = 3;
	if (HAL_ADC_ConfigChannel(&hadc1, &sConfig) != HAL_OK) {
		Error_Handler();
	}

	/** Configure for the selected ADC regular channel its corresponding rank in the sequencer and its sample time.
	 */
	sConfig.Channel = ADC_CHANNEL_TEMPSENSOR;
	sConfig.Rank = 4;
	if (HAL_ADC_ConfigChannel(&hadc1, &sConfig) != HAL_OK) {
		Error_Handler();
	}

	/** Configure for the selected ADC regular channel its corresponding rank in the sequencer and its sample time.
	 */
	sConfig.Channel = ADC_CHANNEL_3;
	sConfig.Rank = 5;
	if (HAL_ADC_ConfigChannel(&hadc1, &sConfig) != HAL_OK) {
		Error_Handler();
	}

}

static void MX_I2C1_Init(void) {

	hi2c1.Instance = I2C1;
	hi2c1.Init.ClockSpeed = 400000;
	hi2c1.Init.DutyCycle = I2C_DUTYCYCLE_2;
	hi2c1.Init.OwnAddress1 = 0;
	hi2c1.Init.AddressingMode = I2C_ADDRESSINGMODE_7BIT;
	hi2c1.Init.DualAddressMode = I2C_DUALADDRESS_DISABLE;
	hi2c1.Init.OwnAddress2 = 0;
	hi2c1.Init.GeneralCallMode = I2C_GENERALCALL_DISABLE;
	hi2c1.Init.NoStretchMode = I2C_NOSTRETCH_DISABLE;
	if (HAL_I2C_Init(&hi2c1) != HAL_OK) {
		Error_Handler();
	}

}

static void MX_TIM1_Init(void) {

	TIM_ClockConfigTypeDef sClockSourceConfig = { 0 };
	TIM_MasterConfigTypeDef sMasterConfig = { 0 };
	TIM_OC_InitTypeDef sConfigOC = { 0 };
	TIM_BreakDeadTimeConfigTypeDef sBreakDeadTimeConfig = { 0 };

	htim1.Instance = TIM1;
	htim1.Init.Prescaler = 95;
	htim1.Init.CounterMode = TIM_COUNTERMODE_UP;
	htim1.Init.Period = 65535;
	htim1.Init.ClockDivision = TIM_CLOCKDIVISION_DIV1;
	htim1.Init.RepetitionCounter = 0;
	htim1.Init.AutoReloadPreload = TIM_AUTORELOAD_PRELOAD_DISABLE;
	if (HAL_TIM_Base_Init(&htim1) != HAL_OK) {
		Error_Handler();
	}
	sClockSourceConfig.ClockSource = TIM_CLOCKSOURCE_INTERNAL;
	if (HAL_TIM_ConfigClockSource(&htim1, &sClockSourceConfig) != HAL_OK) {
		Error_Handler();
	}
	if (HAL_TIM_PWM_Init(&htim1) != HAL_OK) {
		Error_Handler();
	}
	sMasterConfig.MasterOutputTrigger = TIM_TRGO_RESET;
	sMasterConfig.MasterSlaveMode = TIM_MASTERSLAVEMODE_DISABLE;
	if (HAL_TIMEx_MasterConfigSynchronization(&htim1, &sMasterConfig)
			!= HAL_OK) {
		Error_Handler();
	}
	sConfigOC.OCMode = TIM_OCMODE_PWM1;
	sConfigOC.Pulse = 0;
	sConfigOC.OCPolarity = TIM_OCPOLARITY_HIGH;
	sConfigOC.OCNPolarity = TIM_OCNPOLARITY_HIGH;
	sConfigOC.OCFastMode = TIM_OCFAST_DISABLE;
	sConfigOC.OCIdleState = TIM_OCIDLESTATE_RESET;
	sConfigOC.OCNIdleState = TIM_OCNIDLESTATE_RESET;
	if (HAL_TIM_PWM_ConfigChannel(&htim1, &sConfigOC, TIM_CHANNEL_1)
			!= HAL_OK) {
		Error_Handler();
	}
	sBreakDeadTimeConfig.OffStateRunMode = TIM_OSSR_DISABLE;
	sBreakDeadTimeConfig.OffStateIDLEMode = TIM_OSSI_DISABLE;
	sBreakDeadTimeConfig.LockLevel = TIM_LOCKLEVEL_OFF;
	sBreakDeadTimeConfig.DeadTime = 0;
	sBreakDeadTimeConfig.BreakState = TIM_BREAK_DISABLE;
	sBreakDeadTimeConfig.BreakPolarity = TIM_BREAKPOLARITY_HIGH;
	sBreakDeadTimeConfig.AutomaticOutput = TIM_AUTOMATICOUTPUT_DISABLE;
	if (HAL_TIMEx_ConfigBreakDeadTime(&htim1, &sBreakDeadTimeConfig)
			!= HAL_OK) {
		Error_Handler();
	}
	HAL_TIM_MspPostInit(&htim1);

}

static void MX_USART1_UART_Init(void) {

	huart1.Instance = USART1;
	huart1.Init.BaudRate = 115200;
	huart1.Init.WordLength = UART_WORDLENGTH_8B;
	huart1.Init.StopBits = UART_STOPBITS_1;
	huart1.Init.Parity = UART_PARITY_NONE;
	huart1.Init.Mode = UART_MODE_TX_RX;
	huart1.Init.HwFlowCtl = UART_HWCONTROL_NONE;
	huart1.Init.OverSampling = UART_OVERSAMPLING_16;
	if (HAL_UART_Init(&huart1) != HAL_OK) {
		Error_Handler();
	}

}

static void MX_GPIO_Init(void) {
	GPIO_InitTypeDef GPIO_InitStruct = { 0 };

	/* GPIO Ports Clock Enable */
	__HAL_RCC_GPIOC_CLK_ENABLE();
	__HAL_RCC_GPIOH_CLK_ENABLE();
	__HAL_RCC_GPIOA_CLK_ENABLE();
	__HAL_RCC_GPIOB_CLK_ENABLE();

	/*Configure GPIO pin Output Level */
	HAL_GPIO_WritePin(GPIOC, GPIO_PIN_13, GPIO_PIN_RESET);

	/*Configure GPIO pin : PC13 */
	GPIO_InitStruct.Pin = GPIO_PIN_13;
	GPIO_InitStruct.Mode = GPIO_MODE_OUTPUT_PP;
	GPIO_InitStruct.Pull = GPIO_NOPULL;
	GPIO_InitStruct.Speed = GPIO_SPEED_FREQ_LOW;
	HAL_GPIO_Init(GPIOC, &GPIO_InitStruct);

	/*Configure GPIO pins : PB12 PB13 PB14 PB15 */
	GPIO_InitStruct.Pin = GPIO_PIN_12 | GPIO_PIN_13 | GPIO_PIN_14 | GPIO_PIN_15;
	GPIO_InitStruct.Mode = GPIO_MODE_IT_FALLING;
	GPIO_InitStruct.Pull = GPIO_PULLUP;
	HAL_GPIO_Init(GPIOB, &GPIO_InitStruct);

	/* EXTI interrupt init*/
	HAL_NVIC_SetPriority(EXTI15_10_IRQn, 0, 0);
	HAL_NVIC_EnableIRQ(EXTI15_10_IRQn);

}

/* USER CODE BEGIN 4 */
void HAL_GPIO_EXTI_Callback(uint16_t GPIO_Pin) {
	if (GPIO_Pin == GPIO_PIN_12) {
		xIncrement = -1;
	} else if (GPIO_Pin == GPIO_PIN_13) {
		if (yIndex == 0 && xIndex != 3) {
			yIncrement = xIndex + 1;
		} else if (yIndex == 2) {
			yIncrement = xIndex + 2;
		} else if (yIndex == 0 && xIndex == 3) {
			manOnIncrement = 1;
		}
	} else if (GPIO_Pin == GPIO_PIN_14) {
		xIncrement = 1;
	} else if (GPIO_Pin == GPIO_PIN_15) {
		if (yIndex >= 1 && yIndex <= 3) {
			yIncrement = -yIndex;
		} else if (yIndex >= 4) {
			yIncrement = 2 - yIndex;
		} else if (yIndex == 0 && xIndex == 3) {
			manOnIncrement = -1;
		}

	}
}
/* USER CODE END 4 */

void Error_Handler(void) {
	__disable_irq();
	while (1) {
	}
}
